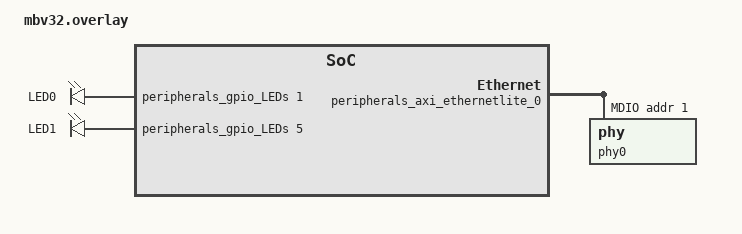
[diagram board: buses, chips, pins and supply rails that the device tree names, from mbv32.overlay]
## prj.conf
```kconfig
CONFIG_PRINTK=y
CONFIG_GPIO=y

CONFIG_MAIN_STACK_SIZE=4096
CONFIG_SYSTEM_WORKQUEUE_STACK_SIZE=4096

CONFIG_NETWORKING=y
CONFIG_NET_L2_ETHERNET=y
CONFIG_NET_IPV4=y
CONFIG_NET_ARP=y

CONFIG_NET_UDP=y
CONFIG_NET_TCP=y
CONFIG_NET_SOCKETS=y
CONFIG_NET_IPV6=n

CONFIG_NET_CONFIG_SETTINGS=y
CONFIG_NET_CONFIG_NEED_IPV4=y
CONFIG_NET_CONFIG_MY_IPV4_ADDR="192.168.0.50"
CONFIG_NET_CONFIG_MY_IPV4_NETMASK="255.255.255.0"
CONFIG_NET_CONFIG_MY_IPV4_GW="192.168.0.1"

CONFIG_ETH_XILINX_AXI_ETHERNET_LITE=y
CONFIG_ENTROPY_GENERATOR=y
CONFIG_TEST_RANDOM_GENERATOR=y

#CONFIG_LOG=y
#CONFIG_LOG_MODE_IMMEDIATE=y
#CONFIG_NET_LOG=y
#CONFIG_NET_CORE_LOG_LEVEL_DBG=y
#CONFIG_NET_IF_LOG_LEVEL_DBG=y
#CONFIG_ETHERNET_LOG_LEVEL_DBG=y
```

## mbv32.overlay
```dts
#include <zephyr/dt-bindings/gpio/gpio.h>

/ {
    leds {
        compatible = "gpio-leds";

        led0: led_0 {
            gpios = <&peripherals_gpio_LEDs 1 GPIO_ACTIVE_HIGH>;
            label = "LED0";
        };
        led1: led_1 {
            gpios = <&peripherals_gpio_LEDs 5 GPIO_ACTIVE_HIGH>;
            label = "LED1";
        };
    };

    aliases {
        led0 = &led0;
        led1 = &led1;
    };

    chosen {
        zephyr,sram  = &microblaze_riscv_0_local_memory_dlmb_bram_if_cntlr_memory;
    };
};

//&microblaze_riscv_0_local_memory_dlmb_bram_if_cntlr_memory {
//    reg = <0x0 0x28000>;
//};


&peripherals_axi_ethernetlite_0 {
    status = "okay";
    mdio {
        #address-cells = <1>;
        #size-cells = <0>;
        phy0: phy@1 {
            device_type = "ethernet-phy";
            reg = <1>;
        };
    };
};
```

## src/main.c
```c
/******************************************************************************
 * Copyright (c) 2026 Marco Höfle, Avnet-Silica
 *
 * Permission is hereby granted, free of charge, to any person obtaining a copy
 * of this software and associated documentation files to deal in the software
 * without restriction, including without limitation the rights to use, copy,
 * modify, merge, publish, distribute, sublicense, and/or sell copies.
 *
 * THE SOFTWARE IS PROVIDED "AS IS", WITHOUT WARRANTY OF ANY KIND.
 ******************************************************************************/

#include <zephyr/kernel.h>
#include <zephyr/sys/printk.h>

#include "led.h"
#include "websrv.h"

/* Thread stack */
#define STACK_SIZE 1024
#define PRIORITY 5

K_THREAD_STACK_DEFINE(led_stack, STACK_SIZE);
K_THREAD_STACK_DEFINE(websrv_stack, STACK_SIZE);


struct k_thread led_thread_data;
struct k_thread websrv_thread_data;



int main(void)
{
    printk("Hello from my own Zephyr app on MicroBlaze V!\n");
    printk("Built: " __DATE__ " "__TIME__ "\n");

    init_leds();

    /* Create LED thread */
    k_thread_create(&led_thread_data, led_stack,
                    STACK_SIZE,
                    led_thread,
                    NULL, NULL, NULL,
                    PRIORITY, 0, K_NO_WAIT);

    k_thread_name_set(&led_thread_data, "led");

/*
    k_thread_create(&websrv_thread_data, websrv_stack,
                    STACK_SIZE,
                    websrv_thread,
                    NULL, NULL, NULL,
                    PRIORITY, 0, K_NO_WAIT);

    k_thread_name_set(&led_thread_data, "websrv");
*/
    return 0;
}
```

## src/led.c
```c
/******************************************************************************
 * Copyright (c) 2026 Marco Höfle, Avnet-Silica
 *
 * Permission is hereby granted, free of charge, to any person obtaining a copy
 * of this software and associated documentation files to deal in the software
 * without restriction, including without limitation the rights to use, copy,
 * modify, merge, publish, distribute, sublicense, and/or sell copies.
 *
 * THE SOFTWARE IS PROVIDED "AS IS", WITHOUT WARRANTY OF ANY KIND.
 ******************************************************************************/

#include <zephyr/kernel.h>
#include <zephyr/sys/printk.h>
#include <zephyr/drivers/gpio.h>

/* Get LED from devicetree */
#define LED0_NODE DT_ALIAS(led0)
#define LED1_NODE DT_ALIAS(led1)


#if !DT_NODE_HAS_STATUS(LED0_NODE, okay)
#error "No LED0 alias found in device tree"
#endif

#if !DT_NODE_HAS_STATUS(LED1_NODE, okay)
#error "No LED1 alias found in device tree"
#endif

static const struct gpio_dt_spec led0 = GPIO_DT_SPEC_GET(LED0_NODE, gpios);
static const struct gpio_dt_spec led1 = GPIO_DT_SPEC_GET(LED1_NODE, gpios);



/* LED thread function */
void led_thread(void *arg1, void *arg2, void *arg3)
{


    while (1) {
        gpio_pin_toggle_dt(&led0);
        k_sleep(K_MSEC(50));
    }
}


void led1_on(void)
{
    gpio_pin_set_dt(&led1, 1);
}

void led1_off(void)
{
    gpio_pin_set_dt(&led1, 0);
}

void init_leds(void)
{
    if (!gpio_is_ready_dt(&led0)) {
        printk("LED device not ready\n");
        return;
    }
    gpio_pin_configure_dt(&led0, GPIO_OUTPUT);

    if (!gpio_is_ready_dt(&led1)) {
        printk("LED device not ready\n");
        return;
    }
    gpio_pin_configure_dt(&led1, GPIO_OUTPUT);
}
```

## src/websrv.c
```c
#include <zephyr/kernel.h>
#include <zephyr/net/socket.h>
#include <zephyr/sys/printk.h>
#include <string.h>
#include <errno.h>

#define HTTP_PORT 80
#define RECV_BUF_SIZE 512

static const char http_response[] =
	"HTTP/1.1 200 OK\r\n"
	"Content-Type: text/html\r\n"
	"Connection: close\r\n"
	"\r\n"
	"<!DOCTYPE html>"
	"<html>"
	"<head><title>Zephyr Webserver</title></head>"
	"<body>"
	"<h1>Hello from Zephyr!</h1>"
	"<p>AXI Ethernet Lite is working.</p>"
	"</body>"
	"</html>";

void websrv_thread(void *arg1, void *arg2, void *arg3)
{
	int server_fd;
	struct sockaddr_in addr;
	char recv_buf[RECV_BUF_SIZE];

	printk("Starting Zephyr webserver...\n");

	server_fd = zsock_socket(AF_INET, SOCK_STREAM, IPPROTO_TCP);
	if (server_fd < 0) {
		printk("socket() failed: %d\n", errno);
		return;
	}

	memset(&addr, 0, sizeof(addr));
	addr.sin_family = AF_INET;
	addr.sin_port = htons(HTTP_PORT);
	addr.sin_addr.s_addr = htonl(INADDR_ANY);

	if (zsock_bind(server_fd, (struct sockaddr *)&addr, sizeof(addr)) < 0) {
		printk("bind() failed: %d\n", errno);
		zsock_close(server_fd);
		return;
	}

	if (zsock_listen(server_fd, 1) < 0) {
		printk("listen() failed: %d\n", errno);
		zsock_close(server_fd);
		return;
	}

	printk("Webserver listening on http://192.168.0.50/\n");

	while (1) {
		struct sockaddr_in client_addr;
		socklen_t client_len = sizeof(client_addr);

		int client_fd = zsock_accept(server_fd,
				       (struct sockaddr *)&client_addr,
				       &client_len);

		if (client_fd < 0) {
			printk("accept() failed: %d\n", errno);
			continue;
		}

		int len = zsock_recv(client_fd, recv_buf, sizeof(recv_buf) - 1, 0);
		if (len > 0) {
			recv_buf[len] = '\0';
			printk("HTTP request:\n%s\n", recv_buf);

			zsock_send(client_fd, http_response,
			     strlen(http_response), 0);
		}

		zsock_close(client_fd);
	}
}
```

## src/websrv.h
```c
/******************************************************************************
 * Copyright (c) 2026 Marco Höfle, Avnet-Silica
 *
 * Permission is hereby granted, free of charge, to any person obtaining a copy
 * of this software and associated documentation files to deal in the software
 * without restriction, including without limitation the rights to use, copy,
 * modify, merge, publish, distribute, sublicense, and/or sell copies.
 *
 * THE SOFTWARE IS PROVIDED "AS IS", WITHOUT WARRANTY OF ANY KIND.
 ******************************************************************************/

#ifndef WEBSRV_H
#define WEBSRV_H

void websrv_thread(void *arg1, void *arg2, void *arg3);

#endif
```
